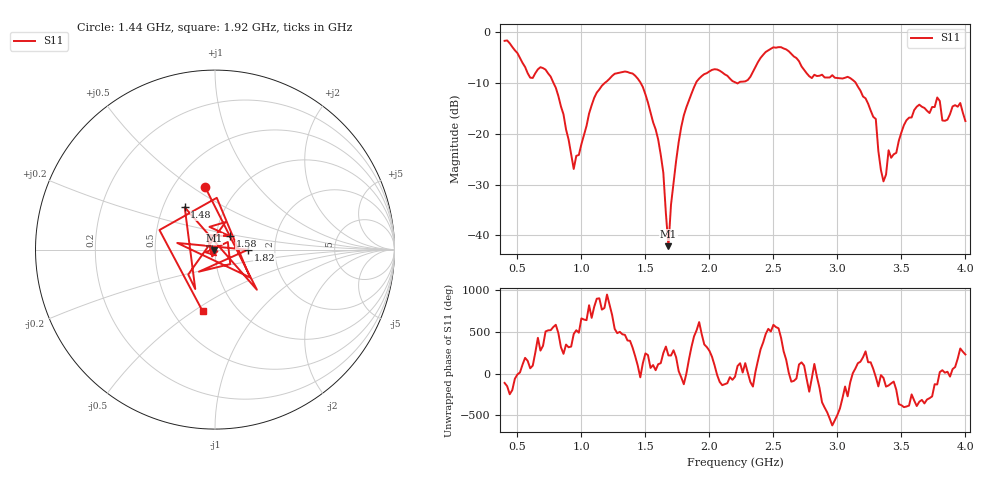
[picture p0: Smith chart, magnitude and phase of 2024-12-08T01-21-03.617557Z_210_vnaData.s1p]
!Created with skrf (http://scikit-rf.org).
# Hz S RI R 50.0
!freq ReS11 ImS11
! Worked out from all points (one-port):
!   181 points, 400 MHz to 4 GHz, reference 50 ohm
!   lowest |S11| = -42.1 dB at 1.68 GHz (marker M1), VSWR 1.02, Z = 49.4 - j0.491 ohm
!   |S11| at or under -10 dB: 782.9 MHz to 1.18 GHz (397.5 MHz wide, 40.5 % of centre); 1.464 GHz to 1.894 GHz (430.2 MHz wide, 25.6 % of centre); 3.145 GHz to end of sweep (the widest 3 of 4)
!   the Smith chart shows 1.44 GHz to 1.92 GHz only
!   S11 on the Smith chart (normalised r, x): 1.44 GHz: 0.71, +0.56; 1.48 GHz: 0.64, +0.33; 1.58 GHz: 1.17, +0.18; 1.82 GHz: 1.45, -0.00; 1.92 GHz: 0.70, -0.55
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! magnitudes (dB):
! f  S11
! 400 MHz  -1.7
! 600 MHz  -8.9
! 720 MHz  -7.3
! 860 MHz  -16.1
! 940 MHz  -26.9
! 1.1 GHz  -12.9
! 1.3 GHz  -7.9
! 1.44 GHz  -9.1
! 1.48 GHz  -10.8
! 1.58 GHz  -19.1
! 1.64 GHz  -27.6
! 1.68 GHz  -42.1
! 1.7 GHz  -33.9
! 1.76 GHz  -21.6
! 1.82 GHz  -14.8
! 1.92 GHz  -9.1
! 2.2 GHz  -9.8
! 2.5 GHz  -2.9
! 2.66 GHz  -4.7
! 3.1 GHz  -9.0
! 3.3 GHz  -17.0
! 3.36 GHz  -29.3
! 3.4 GHz  -23.2
! 3.56 GHz  -16.8
! 3.78 GHz  -12.8
! 3.82 GHz  -17.3
! 3.96 GHz  -13.9
! 4 GHz  -17.5
